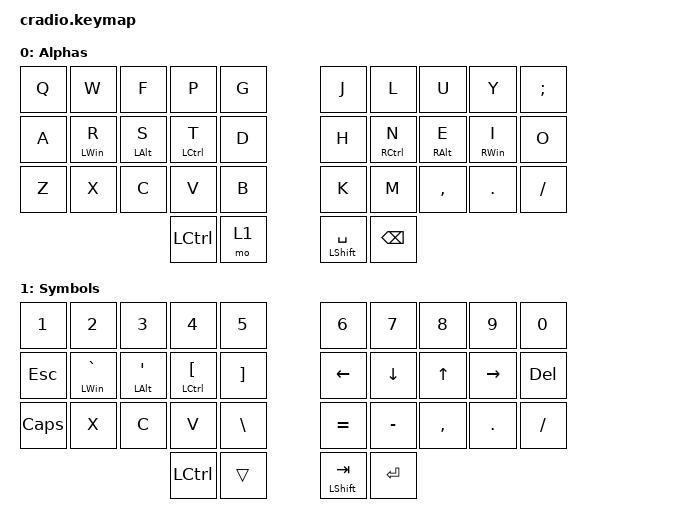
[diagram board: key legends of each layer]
/*
 * Copyright (c) 2020 The ZMK Contributors
 *
 * SPDX-License-Identifier: MIT
 */

#include <behaviors.dtsi>
#include <dt-bindings/zmk/mouse.h>
#include <dt-bindings/zmk/keys.h>

&mt {
    flavor = "tap-preferred";
    tapping_term_ms = <200>;
};

&mmv {
    time-to-max-speed-ms = <680>;
    acceleration-exponent = <2>;
};

/ {
    behaviors {
        hm: homerow_mods {
            compatible = "zmk,behavior-hold-tap";
            label = "HOMEROW_MODS";
            #binding-cells = <2>;
            tapping-term-ms = <250>;
            quick_tap_ms = <0>;
            flavor = "tap-preferred";
            bindings = <&kp>, <&kp>;
        };

        td: tapdance {
            compatible = "zmk,behavior-hold-tap";
            label = "TAPDANCE";
            #binding-cells = <2>;
            tapping-term-ms = <200>;
            quick_tap_ms = <0>;
            flavor = "tap-preferred";
            bindings = <&kp>, <&kp>;
        };
    };

    combos {
        compatible = "zmk,combos";

        Bootloader {
            bindings = <&bootloader>;
            key-positions = <9 19 29>;
        };
    };

    keymap {
        compatible = "zmk,keymap";

        Alphas {
            bindings = <
&kp Q  &kp W           &kp F           &kp P               &kp G    &kp J                 &kp L                &kp U            &kp Y            &kp SEMICOLON
&kp A  &hm LEFT_WIN R  &hm LEFT_ALT S  &hm LEFT_CONTROL T  &kp D    &kp H                 &hm RIGHT_CONTROL N  &hm RIGHT_ALT E  &hm RIGHT_WIN I  &kp O
&kp Z  &kp X           &kp C           &kp V               &kp B    &kp K                 &kp M                &kp COMMA        &kp DOT          &kp SLASH
                                       &kp LEFT_CONTROL    &mo 1    &td LEFT_SHIFT SPACE  &kp BACKSPACE
            >;
        };

        Symbols {
            bindings = <
&kp N1        &kp N2              &kp N3                   &kp N4                         &kp N5               &kp N6              &kp N7     &kp N8     &kp N9      &kp N0
&kp ESC       &hm LEFT_WIN GRAVE  &hm LEFT_ALT APOSTROPHE  &hm LEFT_CONTROL LEFT_BRACKET  &kp RIGHT_BRACKET    &kp LEFT            &kp DOWN   &kp UP     &kp RIGHT   &kp DELETE
&kp CAPSLOCK  &kp X               &kp C                    &kp V                          &kp BACKSLASH        &kp EQUAL           &kp MINUS  &kp COMMA  &kp PERIOD  &kp SLASH
                                                           &kp LEFT_CONTROL               &trans               &td LEFT_SHIFT TAB  &kp ENTER
            >;
        };
    };
};
